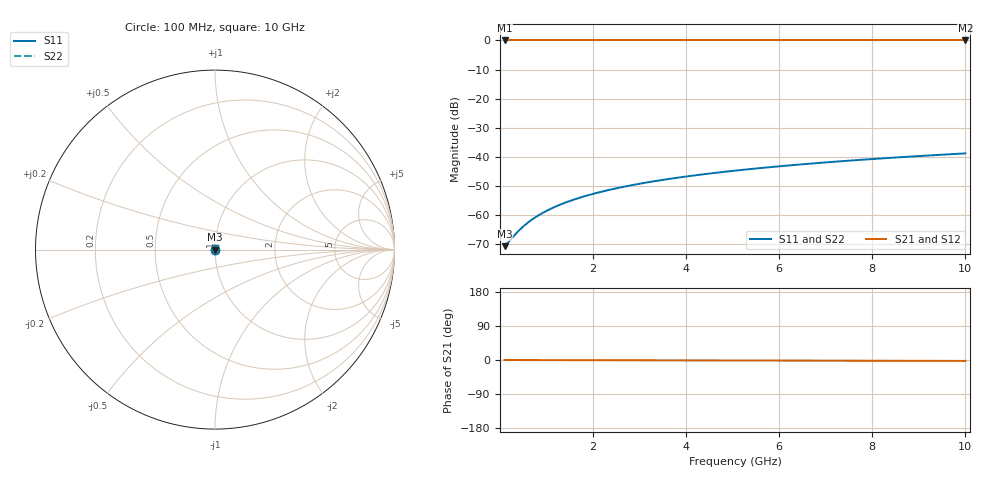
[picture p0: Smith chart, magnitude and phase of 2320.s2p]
# Hz S RI R 50.00
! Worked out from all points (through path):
!   100 points, 100 MHz to 10 GHz, reference 50 ohm
!   highest |S21| = 0.00 dB at 100 MHz (marker M1); lowest = 0.0 dB at 10 GHz (marker M2)
!   lowest |S11| = -70.8 dB at 100 MHz (marker M3), VSWR 1.00, Z = 50 + j0.0114 ohm
!   |S11| at or under -10 dB: start of sweep to end of sweep
!   |S22| runs from -70.8 to -38.9 dB; largest |S21 - S12| = 0
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1e8  0.000266 0.000114  0.9997 -0.000428  0.9997 -0.000428  0.000266 0.000114
2e8  0.000268 0.000228  0.9997 -0.000856  0.9997 -0.000856  0.000268 0.000228
3e8  0.000269 0.000341  0.9997 -0.00128  0.9997 -0.00128  0.000269 0.000341
4e8  0.000271 0.000455  0.9997 -0.00171  0.9997 -0.00171  0.000271 0.000455
5e8  0.000272 0.000569  0.9997 -0.00214  0.9997 -0.00214  0.000272 0.000569
6e8  0.000273 0.000683  0.9997 -0.00257  0.9997 -0.00257  0.000273 0.000683
7e8  0.000274 0.000797  0.9997 -0.003  0.9997 -0.003  0.000274 0.000797
8e8  0.000276 0.000911  0.9997 -0.00342  0.9997 -0.00342  0.000276 0.000911
1e9  0.000278 0.00114  0.9997 -0.00428  0.9997 -0.00428  0.000278 0.00114
1.2e9  0.000281 0.00137  0.9997 -0.00514  0.9997 -0.00514  0.000281 0.00137
1.5e9  0.000286 0.00171  0.9997 -0.00642  0.9997 -0.00642  0.000286 0.00171
1.8e9  0.000292 0.00205  0.9997 -0.00771  0.9997 -0.00771  0.000292 0.00205
2.1e9  0.000298 0.00239  0.9997 -0.00899  0.9997 -0.00899  0.000298 0.00239
2.5e9  0.000308 0.00285  0.9997 -0.0107  0.9997 -0.0107  0.000308 0.00285
2.9e9  0.00032 0.0033  0.9996 -0.0124  0.9996 -0.0124  0.00032 0.0033
3.4e9  0.000336 0.00387  0.9996 -0.0146  0.9996 -0.0146  0.000336 0.00387
4.2e9  0.000367 0.00478  0.9995 -0.018  0.9995 -0.018  0.000367 0.00478
5.1e9  0.000409 0.0058  0.9994 -0.0219  0.9994 -0.0219  0.000409 0.0058
5.9e9  0.000454 0.00671  0.9994 -0.0253  0.9994 -0.0253  0.000454 0.00671
6.7e9  0.000504 0.00762  0.9993 -0.0287  0.9993 -0.0287  0.000504 0.00762
8.4e9  0.000633 0.00956  0.999 -0.036  0.999 -0.036  0.000633 0.00956
1e10  0.00078 0.0114  0.9987 -0.0429  0.9987 -0.0429  0.00078 0.0114
